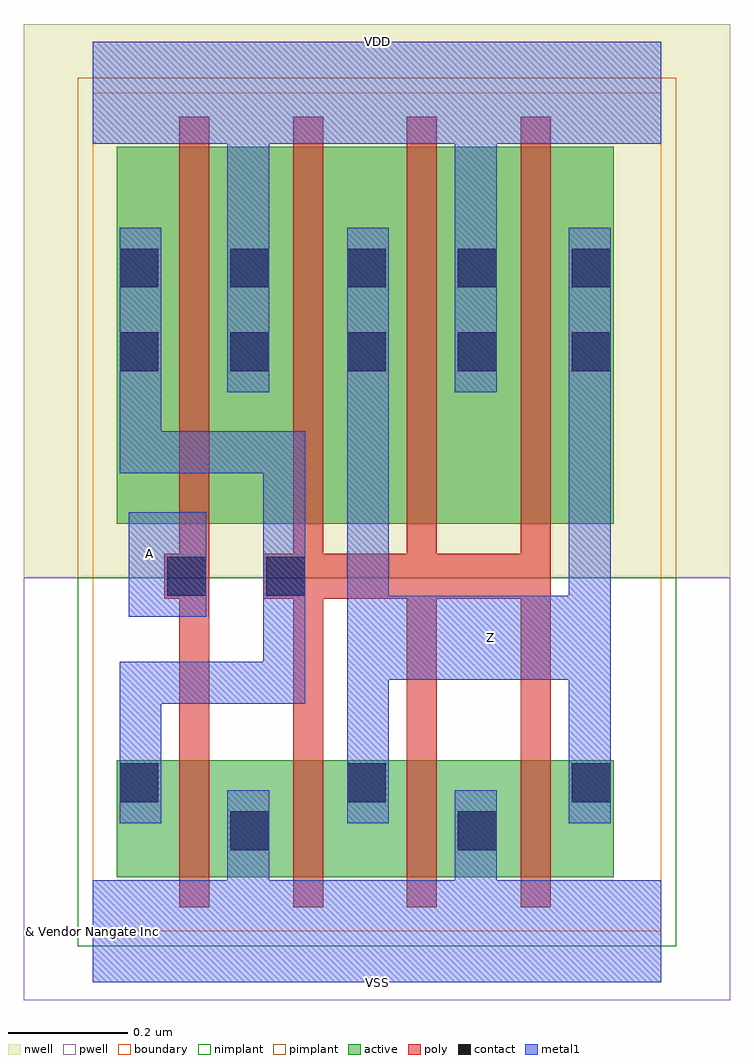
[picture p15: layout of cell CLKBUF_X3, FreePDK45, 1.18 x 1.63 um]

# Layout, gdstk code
import gdstk
lib = gdstk.Library(unit=1e-6, precision=1e-10)
def R(c, l, rs):  # rectangles x0, y0, x1, y1
    for r in rs: c.add(gdstk.rectangle(r[:2], r[2:], *l))
def P(c, l, *ps):  # polygons
    for p in ps: c.add(gdstk.Polygon(p, *l))
active = (1, 0)
pwell = (2, 0)
nwell = (3, 0)
nimplant = (4, 0)
pimplant = (5, 0)
poly = (9, 0)
contact = (10, 0)
metal1 = (11, 0)
boundary = (235, 0)

clkbuf_x3 = lib.new_cell('CLKBUF_X3')
R(clkbuf_x3, active, [(0.04,0.09,0.87,0.285), (0.04,0.68,0.87,1.31)])
R(clkbuf_x3, pwell, [(-0.115,-0.115,1.065,0.59)])
R(clkbuf_x3, nwell, [(-0.115,0.59,1.065,1.515)])
R(clkbuf_x3, nimplant, [(-0.025,-0.025,0.975,0.59)])
R(clkbuf_x3, pimplant, [(-0.025,0.59,0.975,1.425)])
P(clkbuf_x3, poly, [(0.145,0.04),(0.145,0.555),(0.12,0.555),(0.12,0.63),(0.145,0.63),(0.145,1.36),(0.195,1.36),(0.195,0.04)],
  [(0.335,0.04),(0.335,0.555),(0.285,0.555),(0.285,0.63),(0.335,0.63),(0.335,1.36),(0.385,1.36),(0.385,0.63),(0.525,0.63),(0.525,1.36),(0.575,1.36),(0.575,0.63),(0.715,0.63),(0.715,1.36),(0.765,1.36),(0.765,0.04),(0.715,0.04),(0.715,0.555),(0.575,0.555),(0.575,0.04),(0.525,0.04),(0.525,0.555),(0.385,0.555),(0.385,0.04)])
R(clkbuf_x3, contact, [(0.23,0.135,0.295,0.2), (0.61,0.135,0.675,0.2), (0.045,0.215,0.11,0.28), (0.425,0.215,0.49,0.28), (0.8,0.215,0.865,0.28), (0.125,0.56,0.19,0.625), (0.29,0.56,0.355,0.625), (0.045,0.935,0.11,1), (0.23,0.935,0.295,1), (0.425,0.935,0.49,1), (0.61,0.935,0.675,1), (0.8,0.935,0.865,1), (0.045,1.075,0.11,1.14), (0.23,1.075,0.295,1.14), (0.425,1.075,0.49,1.14), (0.61,1.075,0.675,1.14), (0.8,1.075,0.865,1.14)])
R(clkbuf_x3, metal1, [(0.06,0.525,0.19,0.7)])
P(clkbuf_x3, metal1, [(0.045,0.18),(0.045,0.45),(0.285,0.45),(0.285,0.765),(0.045,0.765),(0.045,1.175),(0.115,1.175),(0.115,0.835),(0.355,0.835),(0.355,0.38),(0.115,0.38),(0.115,0.18)],
  [(0.425,0.18),(0.425,1.175),(0.495,1.175),(0.495,0.56),(0.795,0.56),(0.795,1.175),(0.865,1.175),(0.865,0.18),(0.795,0.18),(0.795,0.42),(0.495,0.42),(0.495,0.18)],
  [(0,-0.085),(0,0.085),(0.225,0.085),(0.225,0.235),(0.295,0.235),(0.295,0.085),(0.605,0.085),(0.605,0.235),(0.675,0.235),(0.675,0.085),(0.95,0.085),(0.95,-0.085)],
  [(0.225,0.9),(0.225,1.315),(0,1.315),(0,1.485),(0.95,1.485),(0.95,1.315),(0.675,1.315),(0.675,0.9),(0.605,0.9),(0.605,1.315),(0.295,1.315),(0.295,0.9)])
R(clkbuf_x3, boundary, [(0,0,0.95,1.4)])
clkbuf_x3.add(gdstk.Label('A', (0.095,0.63), layer=11, texttype=0))
clkbuf_x3.add(gdstk.Label('VDD', (0.475,1.485), layer=11, texttype=0))
clkbuf_x3.add(gdstk.Label('VSS', (0.475,-0.085), layer=11, texttype=0))
clkbuf_x3.add(gdstk.Label('Z', (0.665,0.49), layer=11, texttype=0))
clkbuf_x3.add(gdstk.Label('& Vendor Nangate Inc', (0,0), layer=63, texttype=63))
clkbuf_x3.add(gdstk.Label('& Product Open Cell Library', (0,0), layer=63, texttype=63))
clkbuf_x3.add(gdstk.Label('& Version 2010_12', (0,0), layer=63, texttype=63))
clkbuf_x3.add(gdstk.Label('& Instance CLKBUF_X3', (0,0), layer=63, texttype=63))

lib.write_gds('CLKBUF_X3.gds')
